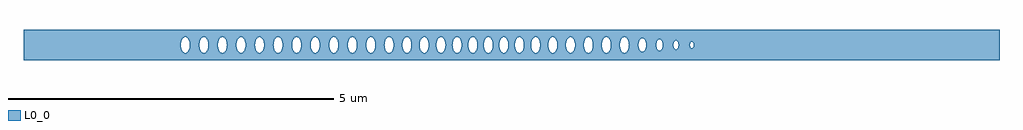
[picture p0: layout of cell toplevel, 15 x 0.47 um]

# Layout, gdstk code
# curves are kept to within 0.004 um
import gdstk
lib = gdstk.Library(unit=1e-6, precision=1e-09)
def P(c, l, *ps):  # polygons
    for p in ps: c.add(gdstk.Polygon(p, *l))
L0_0 = (0, 0)

toplevel = lib.new_cell('toplevel')
P(toplevel, L0_0, [(-4.494,-0.235),(-4.494,-0.085),(-4.507,-0.053),(-4.513,-0.016),(-4.51,0.038),(-4.494,0.085),(-4.494,0.235),(-7.5,0.235),(-7.5,-0.008),(-5.084,-0.008),(-5.081,0.038),(-5.071,0.073),(-5.044,0.112),(-5.018,0.124),(-4.992,0.118),(-4.962,0.085),(-4.948,0.046),(-4.943,-0.008),(-4.799,-0.008),(-4.794,0.046),(-4.783,0.079),(-4.762,0.109),(-4.733,0.124),(-4.706,0.118),(-4.683,0.096),(-4.666,0.06),(-4.658,0.016),(-4.661,-0.038),(-4.671,-0.073),(-4.694,-0.109),(-4.724,-0.124),(-4.75,-0.118),(-4.773,-0.096),(-4.79,-0.06),(-4.799,-0.008),(-4.943,-0.008),(-4.948,-0.046),(-4.962,-0.085),(-4.98,-0.109),(-5.009,-0.124),(-5.035,-0.118),(-5.062,-0.09),(-5.079,-0.046),(-5.084,-0.008),(-7.5,-0.008),(-7.5,-0.235)],
  [(-3.942,0.016),(-3.934,0.06),(-3.917,0.096),(-3.894,0.118),(-3.864,0.123),(-3.864,0.235),(-4.494,0.235),(-4.494,0.085),(-4.477,0.109),(-4.456,0.122),(-4.43,0.122),(-4.409,0.109),(-4.381,0.06),(-4.373,-0.016),(-4.228,-0.016),(-4.225,0.038),(-4.215,0.073),(-4.192,0.109),(-4.162,0.124),(-4.136,0.118),(-4.109,0.09),(-4.092,0.046),(-4.087,0.008),(-4.089,-0.031),(-4.103,-0.079),(-4.12,-0.105),(-4.144,-0.122),(-4.171,-0.122),(-4.203,-0.096),(-4.215,-0.073),(-4.228,-0.016),(-4.373,-0.016),(-4.377,-0.046),(-4.392,-0.085),(-4.409,-0.109),(-4.43,-0.122),(-4.465,-0.118),(-4.494,-0.085),(-4.494,-0.235),(-3.864,-0.235),(-3.864,-0.123),(-3.894,-0.118),(-3.924,-0.085),(-3.941,-0.031)],
  [(-3.803,-0.023),(-3.815,-0.073),(-3.827,-0.096),(-3.846,-0.115),(-3.864,-0.123),(-3.864,-0.235),(-3.24,-0.235),(-3.24,-0.061),(-3.268,-0.109),(-3.289,-0.122),(-3.315,-0.122),(-3.336,-0.109),(-3.353,-0.085),(-3.366,-0.053),(-3.372,-0.016),(-3.364,0.06),(-3.347,0.096),(-3.324,0.118),(-3.306,0.124),(-3.28,0.118),(-3.257,0.096),(-3.24,0.06),(-3.24,0.235),(-3.864,0.235),(-3.864,0.123),(-3.838,0.109),(-3.821,0.085),(-3.805,0.038),(-3.802,0),(-3.658,0),(-3.653,0.046),(-3.638,0.085),(-3.621,0.109),(-3.591,0.124),(-3.565,0.118),(-3.549,0.105),(-3.523,0.053),(-3.517,-0.016),(-3.525,-0.06),(-3.549,-0.105),(-3.574,-0.122),(-3.605,-0.12),(-3.632,-0.096),(-3.653,-0.046),(-3.658,0),(-3.802,0)],
  [(-3.232,-0.017),(-3.24,-0.06),(-3.24,-0.235),(-2.514,-0.235),(-2.514,0.235),(-3.24,0.235),(-3.24,0.06),(-3.231,-0.008),(-3.087,-0.008),(-3.085,0.031),(-3.071,0.079),(-3.05,0.109),(-3.021,0.124),(-2.986,0.112),(-2.965,0.085),(-2.949,0.038),(-2.946,-0.008),(-2.802,-0.008),(-2.797,0.046),(-2.776,0.096),(-2.744,0.122),(-2.709,0.118),(-2.686,0.096),(-2.669,0.06),(-2.661,-0.016),(-2.667,-0.053),(-2.68,-0.085),(-2.697,-0.109),(-2.718,-0.122),(-2.749,-0.12),(-2.776,-0.096),(-2.793,-0.06),(-2.802,-0.008),(-2.946,-0.008),(-2.949,-0.038),(-2.965,-0.085),(-2.986,-0.112),(-3.012,-0.124),(-3.038,-0.118),(-3.065,-0.09),(-3.082,-0.046),(-3.087,-0.008),(-3.231,-0.008)],
  [(-1.951,0.016),(-1.941,0.066),(-1.915,0.109),(-1.915,0.235),(-2.514,0.235),(-2.514,0.031),(-2.503,0.073),(-2.484,0.105),(-2.459,0.122),(-2.441,0.124),(-2.412,0.109),(-2.389,0.073),(-2.38,0.046),(-2.376,-0.016),(-2.232,-0.016),(-2.229,0.038),(-2.213,0.085),(-2.188,0.115),(-2.157,0.124),(-2.128,0.109),(-2.11,0.085),(-2.096,0.046),(-2.091,0.008),(-2.093,-0.031),(-2.107,-0.079),(-2.128,-0.109),(-2.157,-0.124),(-2.183,-0.118),(-2.207,-0.096),(-2.219,-0.073),(-2.232,-0.016),(-2.376,-0.016),(-2.384,-0.06),(-2.401,-0.096),(-2.424,-0.118),(-2.441,-0.124),(-2.459,-0.122),(-2.484,-0.105),(-2.503,-0.073),(-2.514,-0.033),(-2.514,-0.235),(-1.915,-0.235),(-1.915,-0.109),(-1.943,-0.06)],
  [(-1.411,0.016),(-1.399,0.073),(-1.372,0.112),(-1.337,0.124),(-1.32,0.118),(-1.3,0.1),(-1.3,0.235),(-1.915,0.235),(-1.915,0.109),(-1.894,0.122),(-1.877,0.124),(-1.843,0.105),(-1.817,0.053),(-1.811,-0.008),(-1.678,-0.008),(-1.673,0.046),(-1.659,0.085),(-1.641,0.109),(-1.612,0.124),(-1.585,0.118),(-1.562,0.096),(-1.545,0.06),(-1.537,0.016),(-1.54,-0.038),(-1.55,-0.073),(-1.573,-0.109),(-1.603,-0.124),(-1.629,-0.118),(-1.652,-0.096),(-1.669,-0.06),(-1.678,-0.008),(-1.811,-0.008),(-1.819,-0.06),(-1.847,-0.109),(-1.877,-0.124),(-1.894,-0.122),(-1.915,-0.109),(-1.915,-0.235),(-1.3,-0.235),(-1.3,-0.1),(-1.32,-0.118),(-1.337,-0.124),(-1.355,-0.122),(-1.379,-0.105),(-1.399,-0.073),(-1.407,-0.046)],
  [(-0.906,0.016),(-0.898,0.06),(-0.881,0.096),(-0.858,0.118),(-0.841,0.124),(-0.814,0.118),(-0.791,0.096),(-0.774,0.06),(-0.767,0.023),(-0.767,0.235),(-1.3,0.235),(-1.3,0.1),(-1.276,0.046),(-1.272,-0.016),(-1.155,-0.016),(-1.152,0.038),(-1.142,0.073),(-1.119,0.109),(-1.089,0.124),(-1.063,0.118),(-1.036,0.09),(-1.019,0.046),(-1.014,0.008),(-1.016,-0.031),(-1.03,-0.079),(-1.051,-0.109),(-1.08,-0.124),(-1.106,-0.118),(-1.13,-0.096),(-1.142,-0.073),(-1.155,-0.016),(-1.272,-0.016),(-1.28,-0.06),(-1.3,-0.1),(-1.3,-0.235),(-0.767,-0.235),(-0.767,-0.026),(-0.779,-0.073),(-0.798,-0.105),(-0.823,-0.122),(-0.849,-0.122),(-0.874,-0.105),(-0.896,-0.066)],
  [(-0.767,-0.023),(-0.767,-0.235),(-0.17,-0.235),(-0.17,-0.085),(-0.189,-0.016),(-0.186,0.038),(-0.17,0.085),(-0.17,0.235),(-0.767,0.235),(-0.766,0),(-0.665,0),(-0.66,0.046),(-0.639,0.096),(-0.616,0.118),(-0.59,0.124),(-0.56,0.109),(-0.537,0.073),(-0.527,0.038),(-0.524,-0.016),(-0.426,-0.016),(-0.42,0.053),(-0.394,0.105),(-0.36,0.124),(-0.343,0.122),(-0.322,0.109),(-0.294,0.06),(-0.286,-0.016),(-0.304,-0.085),(-0.338,-0.12),(-0.369,-0.122),(-0.394,-0.105),(-0.418,-0.06),(-0.426,-0.016),(-0.524,-0.016),(-0.532,-0.06),(-0.549,-0.096),(-0.572,-0.118),(-0.59,-0.124),(-0.616,-0.118),(-0.639,-0.096),(-0.66,-0.046),(-0.665,0),(-0.766,0)],
  [(-0.164,0.096),(-0.132,0.122),(-0.105,0.122),(-0.081,0.105),(-0.064,0.079),(-0.05,0.031),(-0.048,-0.008),(0.051,-0.008),(0.056,0.046),(0.073,0.09),(0.1,0.118),(0.117,0.124),(0.135,0.122),(0.156,0.109),(0.179,0.073),(0.189,0.038),(0.192,-0.008),(0.189,-0.038),(0.173,-0.085),(0.156,-0.109),(0.126,-0.124),(0.1,-0.118),(0.073,-0.09),(0.056,-0.046),(0.051,-0.008),(-0.048,-0.008),(-0.064,-0.079),(-0.097,-0.118),(-0.114,-0.124),(-0.132,-0.122),(-0.153,-0.109),(-0.17,-0.085),(-0.17,-0.235),(0.376,-0.235),(0.376,-0.124),(0.35,-0.118),(0.326,-0.096),(0.314,-0.073),(0.301,-0.016),(0.304,0.038),(0.32,0.085),(0.345,0.115),(0.376,0.124),(0.376,0.235),(-0.17,0.235),(-0.17,0.085)],
  [(0.837,0.016),(0.855,0.085),(0.876,0.112),(0.893,0.122),(0.92,0.122),(0.94,0.109),(0.968,0.06),(0.968,0.235),(0.376,0.235),(0.376,0.124),(0.405,0.109),(0.426,0.079),(0.44,0.031),(0.441,-0.016),(0.564,-0.016),(0.567,0.038),(0.577,0.073),(0.6,0.109),(0.63,0.124),(0.656,0.118),(0.679,0.096),(0.7,0.046),(0.705,0),(0.7,-0.046),(0.685,-0.085),(0.668,-0.109),(0.639,-0.124),(0.612,-0.118),(0.589,-0.096),(0.572,-0.06),(0.564,-0.016),(0.441,-0.016),(0.437,-0.046),(0.42,-0.09),(0.405,-0.109),(0.376,-0.124),(0.376,-0.235),(0.968,-0.235),(0.968,-0.061),(0.951,-0.096),(0.928,-0.118),(0.911,-0.124),(0.885,-0.118),(0.869,-0.105),(0.849,-0.073),(0.838,-0.031)],
  [(0.976,-0.023),(0.968,-0.06),(0.968,-0.235),(1.667,-0.235),(1.667,0.235),(0.968,0.235),(0.968,0.06),(0.977,-0.008),(1.111,-0.008),(1.116,0.046),(1.13,0.085),(1.16,0.118),(1.186,0.124),(1.216,0.109),(1.239,0.073),(1.249,0.038),(1.252,-0.016),(1.387,-0.016),(1.393,0.053),(1.412,0.096),(1.444,0.122),(1.479,0.118),(1.502,0.096),(1.517,0.066),(1.528,0),(1.514,-0.073),(1.495,-0.105),(1.47,-0.122),(1.444,-0.122),(1.419,-0.105),(1.395,-0.06),(1.387,-0.016),(1.252,-0.016),(1.244,-0.06),(1.227,-0.096),(1.204,-0.118),(1.186,-0.124),(1.16,-0.118),(1.137,-0.096),(1.12,-0.06),(1.111,-0.008),(0.977,-0.008)],
  [(2.225,0.011),(2.24,0.065),(2.253,0.081),(2.269,0.088),(2.269,0.235),(1.667,0.235),(1.667,0.031),(1.678,0.073),(1.697,0.105),(1.722,0.122),(1.74,0.124),(1.769,0.109),(1.787,0.085),(1.801,0.046),(1.805,-0.007),(1.95,-0.007),(1.953,0.033),(1.969,0.078),(1.989,0.099),(2.011,0.107),(2.033,0.099),(2.052,0.078),(2.066,0.045),(2.071,0.013),(2.06,-0.063),(2.037,-0.096),(2.011,-0.107),(1.989,-0.099),(1.969,-0.078),(1.956,-0.045),(1.95,-0.007),(1.805,-0.007),(1.801,-0.046),(1.787,-0.085),(1.769,-0.109),(1.74,-0.124),(1.722,-0.122),(1.697,-0.105),(1.678,-0.073),(1.667,-0.033),(1.667,-0.235),(2.269,-0.235),(2.269,-0.088),(2.253,-0.081),(2.236,-0.057),(2.225,-0.017)],
  [(2.278,0.089),(2.297,0.081),(2.314,0.057),(2.325,0.017),(2.325,-0.009),(2.487,-0.009),(2.496,0.046),(2.51,0.065),(2.525,0.072),(2.543,0.067),(2.556,0.052),(2.565,0.031),(2.568,-0.007),(2.742,-0.007),(2.749,0.035),(2.769,0.054),(2.781,0.053),(2.793,0.042),(2.804,-0.007),(2.793,-0.042),(2.777,-0.054),(2.765,-0.053),(2.753,-0.042),(2.742,-0.007),(2.568,-0.007),(2.556,-0.052),(2.53,-0.072),(2.506,-0.061),(2.493,-0.038),(2.487,-0.009),(2.325,-0.009),(2.31,-0.065),(2.291,-0.085),(2.269,-0.088),(2.269,-0.235),(7.5,-0.235),(7.5,0.235),(2.269,0.235),(2.269,0.088)])

lib.write_gds('toplevel.gds')
